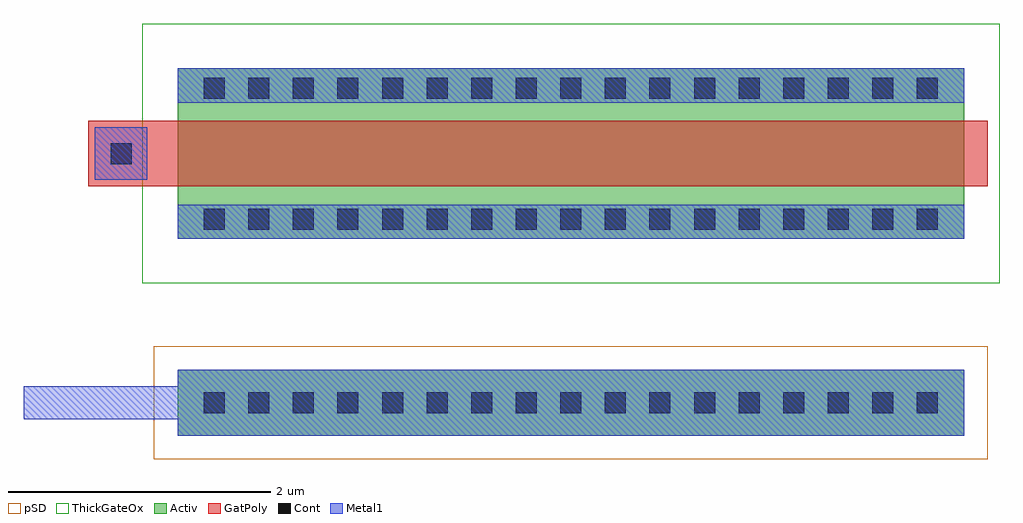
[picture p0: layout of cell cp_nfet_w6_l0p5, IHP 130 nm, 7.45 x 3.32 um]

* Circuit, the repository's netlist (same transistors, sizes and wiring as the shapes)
* extracted by klt extract --deck sg13cmos5l

* cell cp_nfet_w6_l0p5
* pin vsubs
.SUBCKT cp_nfet_w6_l0p5 vsubs
* device instance $1 r0 *1 4.3,3.11 nfet
X$1 \$2 \$1 \$3 vsubs sg13_hv_nmos L=0.5U W=6U AS=2.4P AD=2.4P PS=12.8U PD=12.8U
.ENDS cp_nfet_w6_l0p5

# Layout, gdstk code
import gdstk
lib = gdstk.Library(unit=1e-6, precision=1e-09)
def R(c, l, rs):  # rectangles x0, y0, x1, y1
    for r in rs: c.add(gdstk.rectangle(r[:2], r[2:], *l))
def A(c, l, x, y, w, h, nx, ny, dx, dy):  # array of equal rectangles
    R(c, l, [(x+i*dx, y+j*dy, x+i*dx+w, y+j*dy+h) for i in range(nx) for j in range(ny)])
Activ = (1, 0)
GatPoly = (5, 0)
Cont = (6, 0)
Metal1 = (8, 0)
pSD = (14, 0)
ThickGateOx = (44, 0)

cp_nfet_w6_l0p5 = lib.new_cell('cp_nfet_w6_l0p5')
R(cp_nfet_w6_l0p5, Activ, [(1.3,0.96,7.3,1.46), (1.3,2.46,7.3,3.76)])
R(cp_nfet_w6_l0p5, GatPoly, [(0.62,2.86,1.12,3.36), (1.12,2.86,7.48,3.36)])
A(cp_nfet_w6_l0p5, Cont, 1.5, 1.13, 0.16, 0.16, 17, 2, 0.34, 1.4)
A(cp_nfet_w6_l0p5, Cont, 1.5, 3.53, 0.16, 0.16, 17, 1, 0.34, 0)
R(cp_nfet_w6_l0p5, Cont, [(0.79,3.03,0.95,3.19)])
R(cp_nfet_w6_l0p5, Metal1, [(1.3,0.96,7.3,1.46), (0.125,1.085,1.3,1.335), (1.3,2.46,7.3,2.72), (0.67,2.91,1.07,3.31), (1.3,3.5,7.3,3.76)])
R(cp_nfet_w6_l0p5, pSD, [(1.12,0.78,7.48,1.64)])
R(cp_nfet_w6_l0p5, ThickGateOx, [(1.03,2.12,7.57,4.1)])

lib.write_gds('cp_nfet_w6_l0p5.gds')
